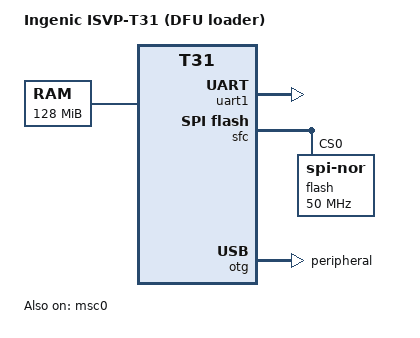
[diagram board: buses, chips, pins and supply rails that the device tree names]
// SPDX-License-Identifier: GPL-2.0+
/*
 * Ingenic ISVP-T31 shared DFU/USB-boot board body.
 *
 * Identical to t31-isvp.dtsi except the DWC2 OTG is dr_mode =
 * "peripheral" so the dwc2_udc_otg gadget binds (dwc2_udc_otg_bind
 * rejects "host"). Used by the usbboot defconfigs - the dev/flash
 * loader that USB-boots and auto-enters DFU. Production NOR uses
 * t31-isvp.dtsi (dr_mode="host" for USB host + USB-NIC).
 *
 * The per-SKU leaf .dts files (t31l-isvp-dfu.dts, t31a-isvp-dfu.dts)
 * include this and supply the DDR node's per-SKU "ingenic,sdram-params" array; the matching
 * <leaf>-u-boot.dtsi pulls in t31-isvp-dfu-uboot-common.dtsi.
 */

#include <dt-bindings/gpio/gpio.h>
#include "t31.dtsi"

/ {
	compatible = "ingenic,isvp-t31", "ingenic,t31";
	model = "Ingenic ISVP-T31 (DFU loader)";

	aliases {
		serial1 = &uart1;
	};

	chosen {
		stdout-path = "serial1:115200n8";
	};

	memory {
		device_type = "memory";
		/* Placeholder; the DDR driver reports the real per-SKU size. */
		reg = <0x0 0x08000000>;
	};
};

&uart1 {
	status = "okay";
};

&sfc {
	status = "okay";

	flash@0 {
		compatible = "jedec,spi-nor";
		reg = <0>;
		spi-max-frequency = <50000000>;
	};
};

&msc0 {
	status = "okay";
	bus-width = <4>;
	broken-cd;
};

&otg {
	status = "okay";
	dr_mode = "peripheral";		/* gadget bind for DFU/g_dnl */
};
